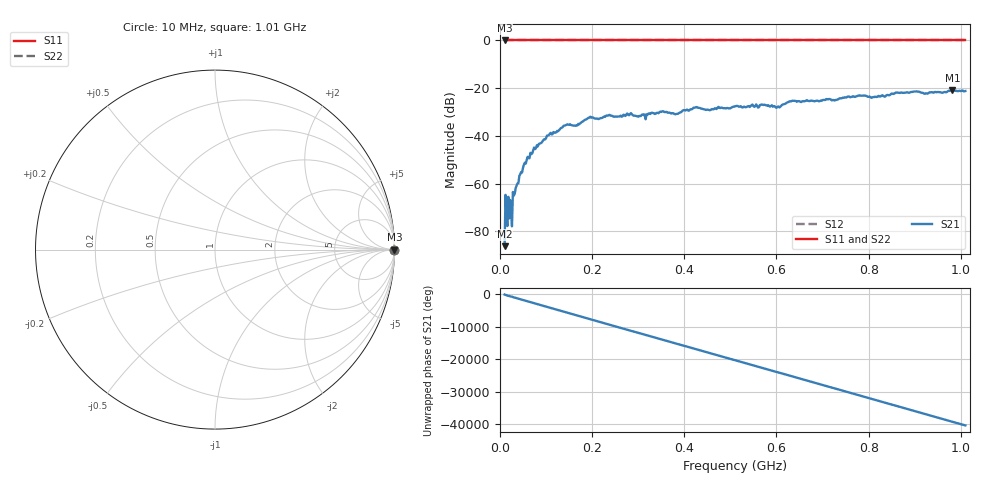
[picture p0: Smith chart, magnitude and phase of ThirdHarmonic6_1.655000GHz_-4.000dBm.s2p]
! 8/16/2025 7:49:04 PM
! C:\ANRITSUVNA\TEMP\TEMP.S2P
! CHANNEL.1
! TR.MEASUREMENT
! RAW.DATA
! RF.CORRECTION.OFF
! AVERAGING.OFF
! IF.BANDWIDTH: 5KHZ
! SWEEPTYPE:  FREQ.SWEEP(Linear)
! Reference Plane Port Info
! PORT:  PORT1  PORT2
! DISTANCE:  0  m  0  m
! TIME:  0  s  0  s
! PHASE.OFFSET:  0  deg.  0  deg.
! LOSS:  0  dB  0  dB
! REF.LOSS:  0  dB  0  dB
! REF.FREQ:  0  Hz  0  Hz
! Power Info
! POWER:  -20  dBm  -20  dBm
! EFF.POWER:  -20  dBm  -20  dBm
! SOURCE.ATTEN:  0  dB  0  dB
! TEST.ATTEN:  0  dB  0  dB
# GHZ S RI R 50.0
! FREQ.GHZ  S11RE  S11IM  S21RE  S21IM  S12RE  S12IM  S22RE  S22IM
!; PortSelection: Port_12
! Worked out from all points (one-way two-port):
!   501 points, 10 MHz to 1.01 GHz, reference 50 ohm
!   highest |S21| = -20.89 dB at 982 MHz (marker M1); lowest = -86.3 dB at 10 MHz (marker M2)
!   lowest |S11| = 0.0 dB at 10 MHz (marker M3)
!   |S11| at or under -10 dB: nowhere
!   |S22| runs from 0.0 to 0.0 dB; largest |S21 - S12| = 1.1
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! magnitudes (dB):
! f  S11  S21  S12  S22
! 10 MHz  0.0  -86.3  0.0  0.0
! 16 MHz  0.0  -77.9  0.0  0.0
! 24 MHz  0.0  -71.5  0.0  0.0
! 30 MHz  0.0  -65.1  0.0  0.0
! 32 MHz  0.0  -64.3  0.0  0.0
! 50 MHz  0.0  -53.4  0.0  0.0
! 76 MHz  0.0  -45.6  0.0  0.0
! 106 MHz  0.0  -39.7  0.0  0.0
! 142 MHz  0.0  -35.6  0.0  0.0
! 178 MHz  0.0  -34.1  0.0  0.0
! 196 MHz  0.0  -32.0  0.0  0.0
! 344 MHz  0.0  -30.5  0.0  0.0
! 382 MHz  0.0  -30.9  0.0  0.0
! 424 MHz  0.0  -28.1  0.0  0.0
! 452 MHz  0.0  -29.1  0.0  0.0
! 510 MHz  0.0  -27.6  0.0  0.0
! 604 MHz  0.0  -27.7  0.0  0.0
! 632 MHz  0.0  -25.6  0.0  0.0
! 678 MHz  0.0  -25.3  0.0  0.0
! 844 MHz  0.0  -23.0  0.0  0.0
! 982 MHz  0.0  -20.9  0.0  0.0
! 1.01 GHz  0.0  -21.2  0.0  0.0
